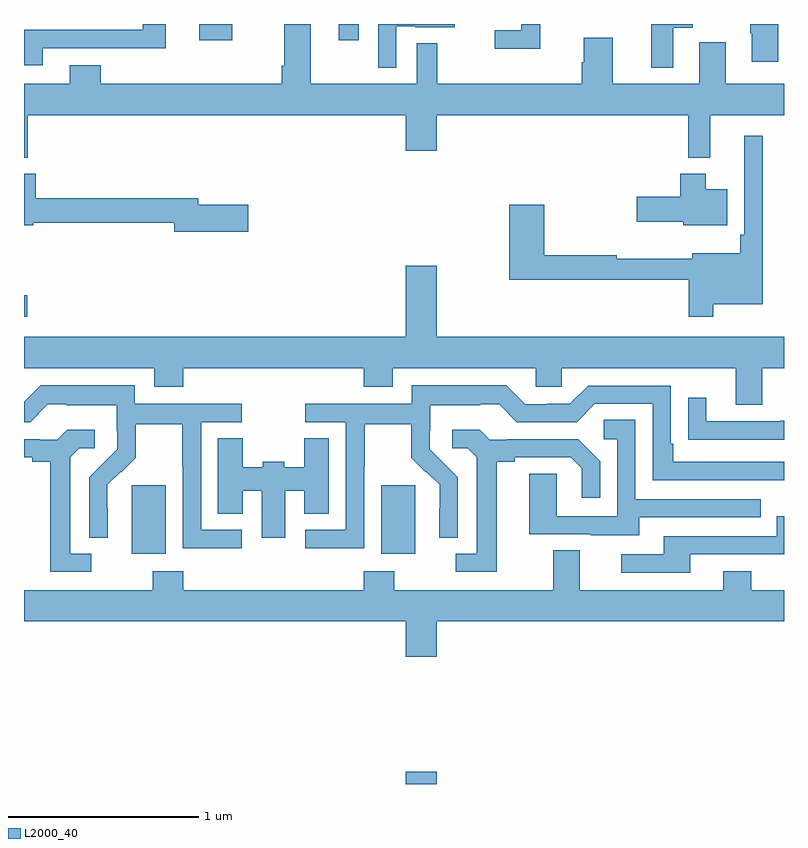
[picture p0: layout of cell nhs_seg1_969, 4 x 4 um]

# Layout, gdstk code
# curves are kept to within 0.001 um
import gdstk
lib = gdstk.Library(unit=1e-6, precision=1e-09)
def R(c, l, rs):  # rectangles x0, y0, x1, y1
    for r in rs: c.add(gdstk.rectangle(r[:2], r[2:], *l))
def P(c, l, *ps):  # polygons
    for p in ps: c.add(gdstk.Polygon(p, *l))
L2000_40 = (2000, 40)

nhs_seg1_969 = lib.new_cell('nhs_seg1_969')
R(nhs_seg1_969, L2000_40, [(165.008,560.199,165.172,560.263), (163.568,561.41,163.747,561.771), (164.879,561.41,165.058,561.771), (163,562.659,163.016,562.771), (163.923,564.114,164.095,564.199), (164.657,564.114,164.761,564.199)])
P(nhs_seg1_969, L2000_40, [(166.969,564.199),(166.822,564.199),(166.822,564.15),(166.829,564.15),(166.829,564),(166.969,564)],
  [(166.417,564.178),(166.519,564.178),(166.519,564.199),(166.301,564.199),(166.301,563.97),(166.417,563.97)],
  [(164.958,564.186),(165.058,564.186),(165.058,564.183),(165.266,564.183),(165.266,564.199),(164.865,564.199),(164.865,563.969),(164.958,563.969)],
  [(163.099,564.072),(163.529,564.072),(163.529,564.071),(163.747,564.071),(163.747,564.199),(163.626,564.199),(163.626,564.168),(163,564.168),(163,563.982),(163.099,563.982)],
  [(165.717,564.199),(165.618,564.199),(165.618,564.166),(165.477,564.166),(165.477,564.068),(165.717,564.068)],
  [(163.019,563.72),(165.008,563.72),(165.008,563.532),(165.172,563.532),(165.172,563.72),(166.495,563.72),(166.495,563.495),(166.613,563.495),(166.613,563.72),(167,563.72),(167,563.884),(166.693,563.884),(166.693,564.103),(166.553,564.103),(166.553,563.884),(166.099,563.884),(166.099,564.127),(165.947,564.127),(165.947,563.997),(165.935,563.997),(165.935,563.884),(165.175,563.884),(165.175,564.098),(165.066,564.098),(165.066,563.884),(164.509,563.884),(164.509,564.199),(164.369,564.199),(164.369,563.98),(164.357,563.98),(164.357,563.884),(163.405,563.884),(163.405,563.983),(163.241,563.983),(163.241,563.884),(163,563.884),(163,563.495),(163.019,563.495)],
  [(166.627,562.724),(166.888,562.724),(166.888,563.611),(166.791,563.611),(166.791,563.089),(166.771,563.089),(166.771,562.993),(166.517,562.993),(166.517,562.964),(166.121,562.964),(166.121,562.982),(165.737,562.982),(165.737,563.248),(165.554,563.248),(165.554,562.854),(166.498,562.854),(166.498,562.659),(166.627,562.659)],
  [(166.702,563.329),(166.588,563.329),(166.588,563.41),(166.454,563.41),(166.454,563.289),(166.224,563.289),(166.224,563.159),(166.47,563.159),(166.47,563.141),(166.702,563.141)],
  [(164.179,563.247),(163.918,563.247),(163.918,563.281),(163.061,563.281),(163.061,563.41),(163,563.41),(163,563.141),(163.048,563.141),(163.048,563.152),(163.79,563.152),(163.79,563.105),(164.179,563.105)],
  [(166.885,562.388),(167,562.388),(167,562.552),(165.172,562.552),(165.172,562.927),(165.008,562.927),(165.008,562.552),(163,562.552),(163,562.388),(163.685,562.388),(163.685,562.289),(163.838,562.289),(163.838,562.388),(164.789,562.388),(164.789,562.289),(164.941,562.289),(164.941,562.388),(165.693,562.388),(165.693,562.29),(165.831,562.29),(165.831,562.388),(166.745,562.388),(166.745,562.194),(166.885,562.194)],
  [(164.79,561.868),(164.793,561.868),(164.793,562.092),(165.037,562.092),(165.037,561.917),(165.114,561.84),(165.117,561.843),(165.188,561.773),(165.188,561.65),(165.186,561.65),(165.186,561.496),(165.282,561.496),(165.282,561.814),(165.136,561.962),(165.136,562.059),(165.138,562.059),(165.138,562.193),(165.401,562.193),(165.401,562.197),(165.501,562.197),(165.594,562.104),(165.909,562.104),(166.005,562.2),(166.308,562.2),(166.308,561.798),(167,561.798),(167,561.894),(166.417,561.894),(166.417,561.991),(166.404,561.991),(166.404,562.296),(165.969,562.296),(165.873,562.2),(165.755,562.2),(165.755,562.197),(165.639,562.197),(165.539,562.297),(165.042,562.297),(165.042,562.2),(164.481,562.2),(164.481,562.104),(164.694,562.104),(164.694,561.537),(164.481,561.537),(164.481,561.439),(164.79,561.439)],
  [(164.146,561.537),(163.932,561.537),(163.932,562.104),(164.146,562.104),(164.146,562.2),(163.584,562.2),(163.584,562.297),(163.087,562.297),(163,562.21),(163,562.104),(163.032,562.104),(163.125,562.197),(163.225,562.197),(163.225,562.193),(163.488,562.193),(163.488,562.059),(163.49,562.059),(163.49,561.962),(163.344,561.814),(163.344,561.496),(163.44,561.496),(163.439,561.773),(163.509,561.843),(163.512,561.84),(163.589,561.917),(163.589,562.092),(163.834,562.092),(163.834,561.868),(163.836,561.868),(163.836,561.439),(164.146,561.439)],
  [(167,562.112),(166.981,562.112),(166.981,562.107),(166.591,562.107),(166.591,562.231),(166.495,562.231),(166.495,562.012),(166.597,562.012),(166.597,562.011),(167,562.011)],
  [(166.237,561.603),(166.877,561.603),(166.877,561.699),(166.218,561.699),(166.218,562.115),(166.05,562.115),(166.05,562.014),(166.122,562.014),(166.122,561.609),(165.804,561.609),(165.804,561.833),(165.659,561.833),(165.659,561.513),(165.983,561.513),(165.983,561.509),(166.237,561.509)],
  [(163.354,561.411),(163.243,561.411),(163.243,561.919),(163.29,561.966),(163.372,561.966),(163.372,562.063),(163.228,562.063),(163.176,562.011),(163.082,562.011),(163.082,562.014),(163,562.014),(163,561.918),(163.043,561.918),(163.043,561.896),(163.139,561.896),(163.139,561.315),(163.354,561.315)],
  [(165.487,561.896),(165.583,561.896),(165.583,561.918),(165.878,561.918),(165.935,561.861),(165.935,561.705),(166.032,561.705),(166.032,561.898),(165.916,562.014),(165.544,562.014),(165.544,562.011),(165.45,562.011),(165.398,562.063),(165.255,562.063),(165.255,561.966),(165.336,561.966),(165.383,561.919),(165.383,561.411),(165.273,561.411),(165.273,561.315),(165.487,561.315)],
  [(164.374,561.743),(164.474,561.743),(164.474,561.622),(164.605,561.622),(164.605,562.019),(164.474,562.019),(164.474,561.865),(164.37,561.865),(164.37,561.896),(164.256,561.896),(164.256,561.865),(164.152,561.865),(164.152,562.019),(164.021,562.019),(164.021,561.622),(164.152,561.622),(164.152,561.743),(164.252,561.743),(164.252,561.495),(164.374,561.495)],
  [(166.507,561.408),(167,561.408),(167,561.607),(166.962,561.607),(166.962,561.504),(166.367,561.504),(166.367,561.408),(166.143,561.408),(166.143,561.312),(166.507,561.312)],
  [(165.008,560.868),(165.172,560.868),(165.172,561.056),(167,561.056),(167,561.22),(166.827,561.22),(166.827,561.319),(166.679,561.319),(166.679,561.22),(165.925,561.22),(165.925,561.428),(165.785,561.428),(165.785,561.22),(164.949,561.22),(164.949,561.319),(164.789,561.319),(164.789,561.22),(163.838,561.22),(163.838,561.319),(163.678,561.319),(163.678,561.22),(163,561.22),(163,561.056),(165.008,561.056)])

lib.write_gds('nhs_seg1_969.gds')
